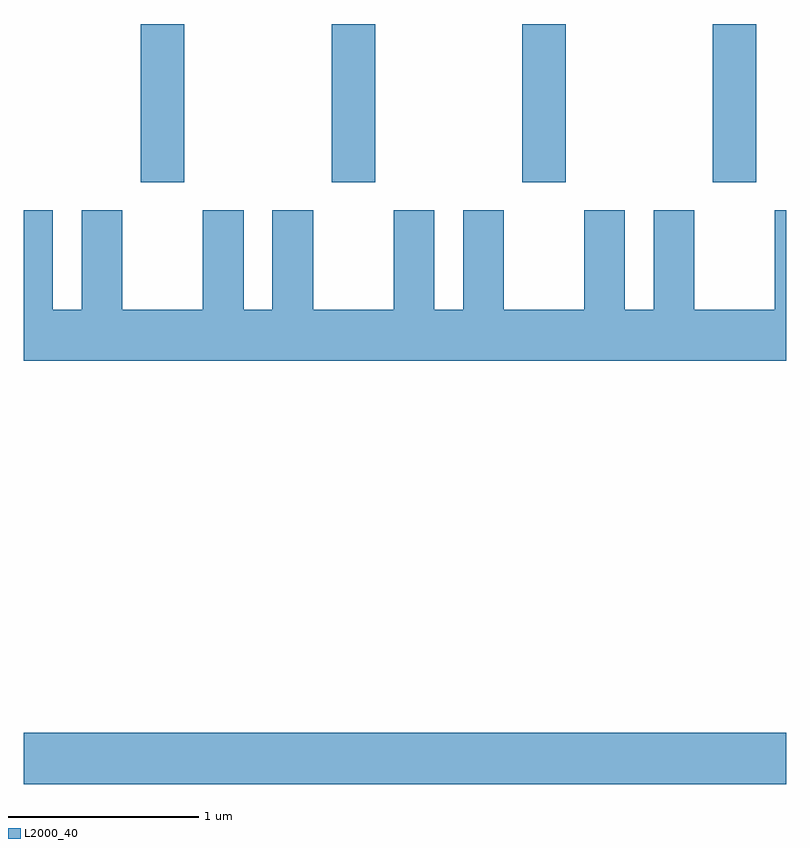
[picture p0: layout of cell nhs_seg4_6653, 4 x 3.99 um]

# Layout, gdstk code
import gdstk
lib = gdstk.Library(unit=1e-6, precision=1e-09)
def R(c, l, rs):  # rectangles x0, y0, x1, y1
    for r in rs: c.add(gdstk.rectangle(r[:2], r[2:], *l))
def A(c, l, x, y, w, h, nx, ny, dx, dy):  # array of equal rectangles
    R(c, l, [(x+i*dx, y+j*dy, x+i*dx+w, y+j*dy+h) for i in range(nx) for j in range(ny)])
def P(c, l, *ps):  # polygons
    for p in ps: c.add(gdstk.Polygon(p, *l))
L2000_40 = (2000, 40)

nhs_seg4_6653 = lib.new_cell('nhs_seg4_6653')
A(nhs_seg4_6653, L2000_40, 380.226, 1371.151, 0.228, 0.831, 4, 1, 1, 0)
R(nhs_seg4_6653, L2000_40, [(379.611,1367.996,383.611,1368.264)])
P(nhs_seg4_6653, L2000_40, [(383.611,1371.004),(383.551,1371.004),(383.551,1370.484),(383.129,1370.484),(383.129,1371.004),(382.916,1371.004),(382.916,1370.484),(382.764,1370.484),(382.764,1371.004),(382.551,1371.004),(382.551,1370.484),(382.129,1370.484),(382.129,1371.004),(381.916,1371.004),(381.916,1370.484),(381.764,1370.484),(381.764,1371.004),(381.551,1371.004),(381.551,1370.484),(381.129,1370.484),(381.129,1371.004),(380.916,1371.004),(380.916,1370.484),(380.764,1370.484),(380.764,1371.004),(380.551,1371.004),(380.551,1370.484),(380.129,1370.484),(380.129,1371.004),(379.916,1371.004),(379.916,1370.484),(379.764,1370.484),(379.764,1371.004),(379.611,1371.004),(379.611,1370.216),(383.611,1370.216)])

lib.write_gds('nhs_seg4_6653.gds')
